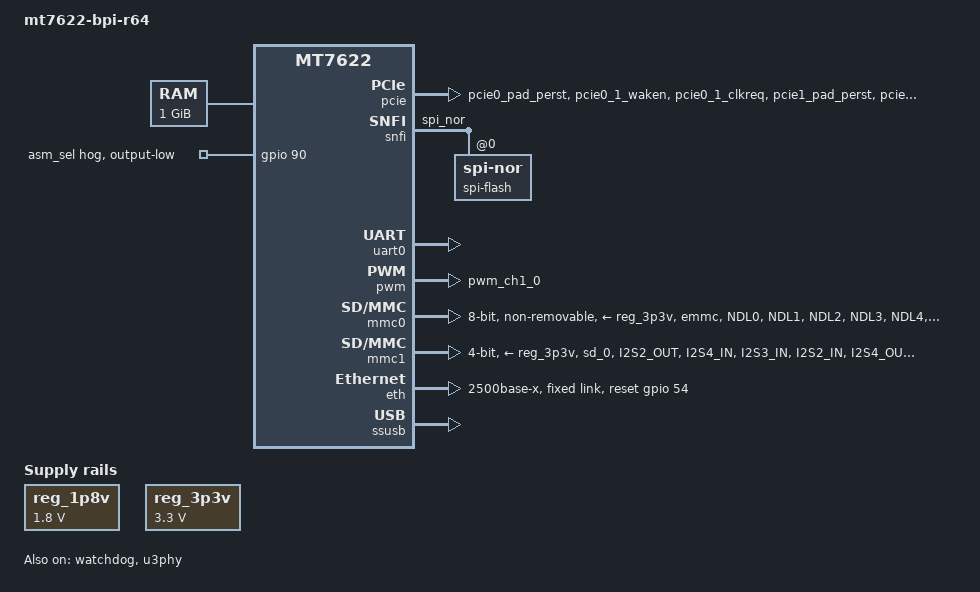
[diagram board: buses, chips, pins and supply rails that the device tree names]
// SPDX-License-Identifier: GPL-2.0
/*
 * Copyright (c) 2019 MediaTek Inc.
 * Author: Sam Shih <sam.shih@mediatek.com>
 */

/dts-v1/;
#include "mt7622.dtsi"
#include "mt7622-u-boot.dtsi"

/ {
	#address-cells = <1>;
	#size-cells = <1>;
	model = "mt7622-bpi-r64";
	compatible = "mediatek,mt7622", "mediatek,mt7622-rfb";
	chosen {
		stdout-path = &uart0;
		tick-timer = &timer0;
	};

	aliases {
		spi0 = &snfi;
	};

	memory@40000000 {
		device_type = "memory";
		reg = <0x40000000 0x40000000>;
	};

	reg_1p8v: regulator-1p8v {
		compatible = "regulator-fixed";
		regulator-name = "fixed-1.8V";
		regulator-min-microvolt = <1800000>;
		regulator-max-microvolt = <1800000>;
		regulator-boot-on;
		regulator-always-on;
	};

	reg_3p3v: regulator-3p3v {
		compatible = "regulator-fixed";
		regulator-name = "fixed-3.3V";
		regulator-min-microvolt = <3300000>;
		regulator-max-microvolt = <3300000>;
		regulator-boot-on;
		regulator-always-on;
	};
};

&pcie {
	pinctrl-names = "default";
	pinctrl-0 = <&pcie0_pins>, <&pcie1_pins>;
	status = "okay";

	pcie@0,0 {
		status = "okay";
	};

	pcie@1,0 {
		status = "okay";
	};
};

&pinctrl {
	pcie0_pins: pcie0-pins {
		mux {
			function = "pcie";
			groups = "pcie0_pad_perst",
				 "pcie0_1_waken",
				 "pcie0_1_clkreq";
		};
	};

	pcie1_pins: pcie1-pins {
		mux {
			function = "pcie";
			groups = "pcie1_pad_perst",
				 "pcie1_0_waken",
				 "pcie1_0_clkreq";
		};
	};

	snfi_pins: snfi-pins {
		mux {
			function = "flash";
			groups = "snfi";
		};
	};

	snor_pins: snor-pins {
		mux {
			function = "flash";
			groups = "spi_nor";
		};
	};

	uart0_pins: uart0 {
		mux {
			function = "uart";
			groups = "uart0_0_tx_rx" ;
		};
	};

	pwm_pins: pwm1 {
		mux {
			function = "pwm";
			groups = "pwm_ch1_0" ;
		};
	};

	watchdog_pins: watchdog-default {
		mux {
			function = "watchdog";
			groups = "watchdog";
		};
	};

	mmc0_pins_default: mmc0default {
		mux {
			function = "emmc";
			groups =  "emmc";
		};

		/* "NDL0","NDL1","NDL2","NDL3","NDL4","NDL5","NDL6","NDL7",
		 * "NRB","NCLE" pins are used as DAT0,DAT1,DAT2,DAT3,DAT4,
		 * DAT5,DAT6,DAT7,CMD,CLK for eMMC respectively
		 */
		conf-cmd-dat {
			pins = "NDL0", "NDL1", "NDL2",
			       "NDL3", "NDL4", "NDL5",
			       "NDL6", "NDL7", "NRB";
			input-enable;
			bias-pull-up;
		};

		conf-clk {
			pins = "NCLE";
			bias-pull-down;
		};

	};

	mmc1_pins_default: mmc1default {
		mux {
			function = "sd";
			groups =  "sd_0";
		};
		/* "I2S2_OUT, "I2S4_IN"", "I2S3_IN", "I2S2_IN",
		 *  "I2S4_OUT", "I2S3_OUT" are used as DAT0, DAT1,
		 *  DAT2, DAT3, CMD, CLK for SD respectively.
		 */
		conf-cmd-data {
			pins = "I2S2_OUT", "I2S4_IN", "I2S3_IN",
			       "I2S2_IN","I2S4_OUT";
			input-enable;
			drive-strength = <8>;
			bias-pull-up;
		};
		conf-clk {
			pins = "I2S3_OUT";
			drive-strength = <12>;
			bias-pull-down;
		};
		conf-cd {
			pins = "TXD3";
			bias-pull-up;
		};

	};
};

&snfi {
	pinctrl-names = "default", "snfi";
	pinctrl-0 = <&snor_pins>;
	pinctrl-1 = <&snfi_pins>;
	status = "okay";

	spi-flash@0{
		compatible = "jedec,spi-nor";
		reg = <0>;
		bootph-all;
	};
};

&uart0 {
	status = "okay";
};

&pwm {
	pinctrl-names = "default";
	pinctrl-0 = <&pwm_pins>;
	status = "okay";
};

&mmc0 {
	pinctrl-names = "default";
	pinctrl-0 = <&mmc0_pins_default>;
	status = "okay";
	bus-width = <8>;
	max-frequency = <50000000>;
	cap-sd-highspeed;
	vmmc-supply = <&reg_3p3v>;
	vqmmc-supply = <&reg_3p3v>;
	non-removable;
};

&mmc1 {
	pinctrl-names = "default";
	pinctrl-0 = <&mmc1_pins_default>;
	status = "okay";
	bus-width = <4>;
	max-frequency = <50000000>;
	cap-sd-highspeed;
	r_smpl = <1>;
	vmmc-supply = <&reg_3p3v>;
	vqmmc-supply = <&reg_3p3v>;
};

&watchdog {
	pinctrl-names = "default";
	pinctrl-0 = <&watchdog_pins>;
	status = "okay";
};

&eth {
	status = "okay";
	mediatek,gmac-id = <0>;
	phy-mode = "2500base-x";
	mediatek,switch = "mt7531";
	reset-gpios = <&gpio 54 GPIO_ACTIVE_HIGH>;

	fixed-link {
		speed = <2500>;
		full-duplex;
	};
};

&gpio {
	/*gpio 90 for setting mode to sata*/
	asm_sel {
		gpio-hog;
		gpios = <90 GPIO_ACTIVE_HIGH>;
		output-low;
	};
};

&ssusb {
	status = "okay";
};

&u3phy {
	status = "okay";
};
